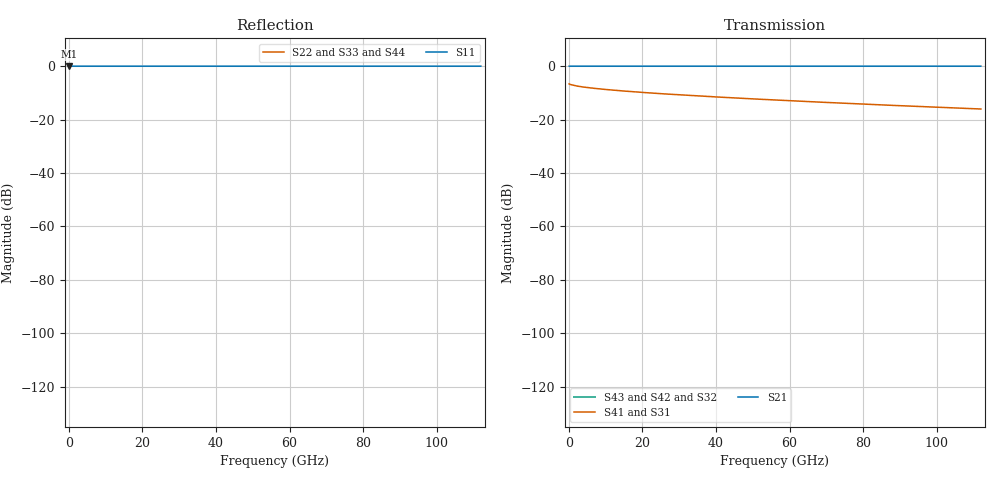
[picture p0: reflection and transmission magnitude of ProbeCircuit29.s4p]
! File created by SignalIntegrity v1.3.3: Signal and Power Integrity Tools
! https://github.com/TeledyneLeCroy/SignalIntegrity
# MHz S MA R 50.0
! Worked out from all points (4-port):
!   1120 points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, 100 MHz to 112 GHz, reference 50 ohm
!   strongest paths, dB at 100 MHz, 28.1 GHz, 56.1 GHz, 84.1 GHz, 112 GHz:
!     S21: 0.0, 0.0, 0.0, 0.0, 0.0
!     S41: -6.6, -10.6, -12.7, -14.4, -16.0
!     S31: -6.6, -10.6, -12.7, -14.4, -16.0
!     S43: -, -, -, -, -
!     S42: -, -, -, -, -
!     S32: -, -, -, -, -
!   lowest |S11| = 0.0 dB at 100 MHz (marker M1)
!   |S11| at or under -10 dB: nowhere
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100  1 0.0  0 0.0  0 0.0  0 0.0
     1 0.0  0 0.0  0 0.0  0 0.0
     0.4662 -9.4  0 0.0  0 0.0  0 0.0
     0.4662 -9.4  0 0.0  0 0.0  0 0.0
2200  1 0.0  0 0.0  0 0.0  0 0.0
      1 0.0  0 0.0  0 0.0  0 0.0
      0.4251 -179.9  0 0.0  0 0.0  0 0.0
      0.4251 -179.9  0 0.0  0 0.0  0 0.0
4400  1 0.0  0 0.0  0 0.0  0 0.0
      1 0.0  0 0.0  0 0.0  0 0.0
      0.4033 3.9  0 0.0  0 0.0  0 0.0
      0.4033 3.9  0 0.0  0 0.0  0 0.0
6700  1 0.0  0 0.0  0 0.0  0 0.0
      1 0.0  0 0.0  0 0.0  0 0.0
      0.3861 -179.6  0 0.0  0 0.0  0 0.0
      0.3861 -179.6  0 0.0  0 0.0  0 0.0
9000  1 0.0  0 0.0  0 0.0  0 0.0
      1 0.0  0 0.0  0 0.0  0 0.0
      0.372 -2.7  0 0.0  0 0.0  0 0.0
      0.372 -2.7  0 0.0  0 0.0  0 0.0
11200  1 0.0  0 0.0  0 0.0  0 0.0
       1 0.0  0 0.0  0 0.0  0 0.0
       0.3601 -177.7  0 0.0  0 0.0  0 0.0
       0.3601 -177.7  0 0.0  0 0.0  0 0.0
112000  1 0.0  0 0.0  0 0.0  0 0.0
        1 0.0  0 0.0  0 0.0  0 0.0
        0.1578 120.9  0 0.0  0 0.0  0 0.0
        0.1578 120.9  0 0.0  0 0.0  0 0.0
